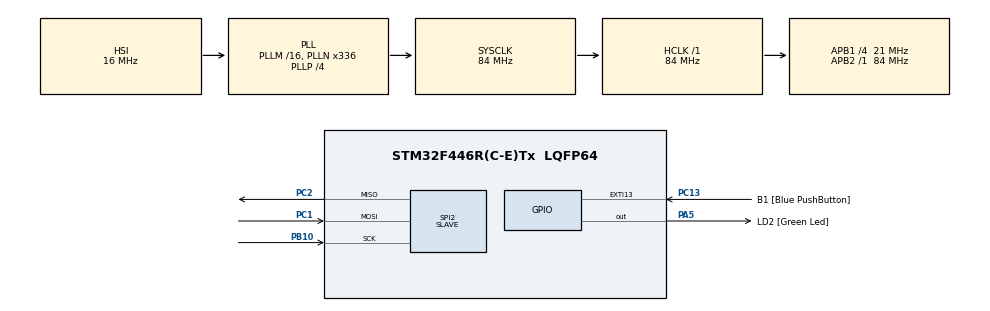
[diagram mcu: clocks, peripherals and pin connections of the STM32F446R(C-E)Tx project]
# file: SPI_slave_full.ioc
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Mcu.Family=STM32F4
Mcu.Name=STM32F446R(C-E)Tx
Mcu.Package=LQFP64
NVIC.PriorityGroup=NVIC_PRIORITYGROUP_0
NVIC.SPI2_IRQn=true\:0\:0\:false\:false\:true\:true\:true\:true
PA13.GPIO_Label=TMS
PA13.Signal=SYS_JTMS-SWDIO
PA14.GPIO_Label=TCK
PA14.Signal=SYS_JTCK-SWCLK
PA2.GPIO_Label=USART_TX
PA2.Signal=USART2_TX
PA3.GPIO_Label=USART_RX
PA3.Signal=USART2_RX
PA5.GPIO_Label=LD2 [Green Led]
PA5.Signal=GPIO_Output
PB10.Mode=Full_Duplex_Slave
PB10.Signal=SPI2_SCK
PB3.GPIO_Label=SWO
PB3.Signal=SYS_JTDO-SWO
PC1.Mode=Full_Duplex_Slave
PC1.Signal=SPI2_MOSI
PC13.GPIO_Label=B1 [Blue PushButton]
PC13.GPIO_ModeDefaultEXTI=GPIO_MODE_IT_FALLING
PC13.Signal=GPXTI13
PC14-OSC32_IN.Signal=RCC_OSC32_IN
PC15-OSC32_OUT.Signal=RCC_OSC32_OUT
PC2.Mode=Full_Duplex_Slave
PC2.Signal=SPI2_MISO
PH0-OSC_IN.Signal=RCC_OSC_IN
PH1-OSC_OUT.Signal=RCC_OSC_OUT
ProjectManager.HeapSize=0x200
ProjectManager.StackSize=0x400
ProjectManager.TargetToolchain=STM32CubeIDE
RCC.AHBFreq_Value=84000000
RCC.APB1CLKDivider=RCC_HCLK_DIV4
RCC.APB1Freq_Value=21000000
RCC.APB1TimFreq_Value=42000000
RCC.APB2Freq_Value=84000000
RCC.APB2TimFreq_Value=84000000
RCC.CortexFreq_Value=84000000
RCC.FLatency-AdvancedSettings=FLASH_LATENCY_2
RCC.HCLKFreq_Value=84000000
RCC.HSE_VALUE=8000000
RCC.HSI_VALUE=16000000
RCC.LSE_VALUE=32768
RCC.PLLN=336
RCC.PLLP=RCC_PLLP_DIV4
RCC.SYSCLKFreq_VALUE=84000000
RCC.SYSCLKSource=RCC_SYSCLKSOURCE_PLLCLK
RCC.USBFreq_Value=168000000
RCC.VCOOutputFreq_Value=336000000
SPI2.Direction=SPI_DIRECTION_2LINES
SPI2.Mode=SPI_MODE_SLAVE
SPI2.VirtualType=VM_SLAVE
board=NUCLEO-F446RE

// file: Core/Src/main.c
/* USER CODE BEGIN Header */
/**
 ******************************************************************************
 * @file           : main.c
 * @brief          : Main program body
 ******************************************************************************
 * @attention
 *
 * Copyright (c) 2024 STMicroelectronics.
 * All rights reserved.
 *
 * This software is licensed under terms that can be found in the LICENSE file
 * in the root directory of this software component.
 * If no LICENSE file comes with this software, it is provided AS-IS.
 *
 ******************************************************************************
 */
/* USER CODE END Header */
#include "main.h"

SPI_HandleTypeDef hspi2;

/* USER CODE BEGIN PV */
uint8_t cmd[4];
uint8_t new_cmd_in = 0;

uint8_t data[] = { 'O', 'K' };
uint16_t data_size_bytes = 2;
uint8_t send_data = 0;

/* USER CODE END PV */

void SystemClock_Config(void);
static void MX_GPIO_Init(void);
static void MX_SPI2_Init(void);

int main(void) {

	/* MCU Configuration--------------------------------------------------------*/

	/* Reset of all peripherals, Initializes the Flash interface and the Systick. */
	HAL_Init();

	/* Configure the system clock */
	SystemClock_Config();

	/* Initialize all configured peripherals */
	MX_GPIO_Init();
	MX_SPI2_Init();

	/* Infinite loop */
	/* USER CODE BEGIN WHILE */
	HAL_SPI_Receive_IT(&hspi2, cmd, 2);
	while (1) {
		/* USER CODE END WHILE */

		/* USER CODE BEGIN 3 */
		// 1. Receive command.
		if (new_cmd_in == 1) {
			new_cmd_in = 0;

			HAL_GPIO_WritePin(LD2_GPIO_Port, LD2_Pin, GPIO_PIN_SET);
			HAL_Delay(100);
			HAL_GPIO_WritePin(LD2_GPIO_Port, LD2_Pin, GPIO_PIN_RESET);
			HAL_Delay(100);

			// 2. Repeat receive cmd.
			// Master want to sync.
			HAL_SPI_Receive_IT(&hspi2, (uint8_t*) cmd, 2);

		}

	}
	/* USER CODE END 3 */
}

void SystemClock_Config(void) {
	RCC_OscInitTypeDef RCC_OscInitStruct = { 0 };
	RCC_ClkInitTypeDef RCC_ClkInitStruct = { 0 };

	/** Configure the main internal regulator output voltage
	 */
	__HAL_RCC_PWR_CLK_ENABLE();
	__HAL_PWR_VOLTAGESCALING_CONFIG(PWR_REGULATOR_VOLTAGE_SCALE3);

	/** Initializes the RCC Oscillators according to the specified parameters
	 * in the RCC_OscInitTypeDef structure.
	 */
	RCC_OscInitStruct.OscillatorType = RCC_OSCILLATORTYPE_HSI;
	RCC_OscInitStruct.HSIState = RCC_HSI_ON;
	RCC_OscInitStruct.HSICalibrationValue = RCC_HSICALIBRATION_DEFAULT;
	RCC_OscInitStruct.PLL.PLLState = RCC_PLL_ON;
	RCC_OscInitStruct.PLL.PLLSource = RCC_PLLSOURCE_HSI;
	RCC_OscInitStruct.PLL.PLLM = 16;
	RCC_OscInitStruct.PLL.PLLN = 336;
	RCC_OscInitStruct.PLL.PLLP = RCC_PLLP_DIV4;
	RCC_OscInitStruct.PLL.PLLQ = 2;
	RCC_OscInitStruct.PLL.PLLR = 2;
	if (HAL_RCC_OscConfig(&RCC_OscInitStruct) != HAL_OK) {
		Error_Handler();
	}

	/** Initializes the CPU, AHB and APB buses clocks
	 */
	RCC_ClkInitStruct.ClockType = RCC_CLOCKTYPE_HCLK | RCC_CLOCKTYPE_SYSCLK
			| RCC_CLOCKTYPE_PCLK1 | RCC_CLOCKTYPE_PCLK2;
	RCC_ClkInitStruct.SYSCLKSource = RCC_SYSCLKSOURCE_PLLCLK;
	RCC_ClkInitStruct.AHBCLKDivider = RCC_SYSCLK_DIV1;
	RCC_ClkInitStruct.APB1CLKDivider = RCC_HCLK_DIV4;
	RCC_ClkInitStruct.APB2CLKDivider = RCC_HCLK_DIV1;

	if (HAL_RCC_ClockConfig(&RCC_ClkInitStruct, FLASH_LATENCY_2) != HAL_OK) {
		Error_Handler();
	}
}

static void MX_SPI2_Init(void) {

	/* SPI2 parameter configuration*/
	hspi2.Instance = SPI2;
	hspi2.Init.Mode = SPI_MODE_SLAVE;
	hspi2.Init.Direction = SPI_DIRECTION_2LINES;
	hspi2.Init.DataSize = SPI_DATASIZE_8BIT;
	hspi2.Init.CLKPolarity = SPI_POLARITY_LOW;
	hspi2.Init.CLKPhase = SPI_PHASE_1EDGE;
	hspi2.Init.NSS = SPI_NSS_SOFT;
	hspi2.Init.FirstBit = SPI_FIRSTBIT_MSB;
	hspi2.Init.TIMode = SPI_TIMODE_DISABLE;
	hspi2.Init.CRCCalculation = SPI_CRCCALCULATION_DISABLE;
	hspi2.Init.CRCPolynomial = 10;
	if (HAL_SPI_Init(&hspi2) != HAL_OK) {
		Error_Handler();
	}

}

static void MX_GPIO_Init(void) {
	GPIO_InitTypeDef GPIO_InitStruct = { 0 };

	/* GPIO Ports Clock Enable */
	__HAL_RCC_GPIOC_CLK_ENABLE();
	__HAL_RCC_GPIOH_CLK_ENABLE();
	__HAL_RCC_GPIOA_CLK_ENABLE();
	__HAL_RCC_GPIOB_CLK_ENABLE();

	/*Configure GPIO pin Output Level */
	HAL_GPIO_WritePin(LD2_GPIO_Port, LD2_Pin, GPIO_PIN_RESET);

	/*Configure GPIO pin : B1_Pin */
	GPIO_InitStruct.Pin = B1_Pin;
	GPIO_InitStruct.Mode = GPIO_MODE_IT_FALLING;
	GPIO_InitStruct.Pull = GPIO_NOPULL;
	HAL_GPIO_Init(B1_GPIO_Port, &GPIO_InitStruct);

	/*Configure GPIO pins : USART_TX_Pin USART_RX_Pin */
	GPIO_InitStruct.Pin = USART_TX_Pin | USART_RX_Pin;
	GPIO_InitStruct.Mode = GPIO_MODE_AF_PP;
	GPIO_InitStruct.Pull = GPIO_NOPULL;
	GPIO_InitStruct.Speed = GPIO_SPEED_FREQ_VERY_HIGH;
	GPIO_InitStruct.Alternate = GPIO_AF7_USART2;
	HAL_GPIO_Init(GPIOA, &GPIO_InitStruct);

	/*Configure GPIO pin : LD2_Pin */
	GPIO_InitStruct.Pin = LD2_Pin;
	GPIO_InitStruct.Mode = GPIO_MODE_OUTPUT_PP;
	GPIO_InitStruct.Pull = GPIO_NOPULL;
	GPIO_InitStruct.Speed = GPIO_SPEED_FREQ_LOW;
	HAL_GPIO_Init(LD2_GPIO_Port, &GPIO_InitStruct);

}

/* USER CODE BEGIN 4 */
void HAL_SPI_RxCpltCallback(SPI_HandleTypeDef *hspi) {

	new_cmd_in = 1;

	// Send data on receive command.
	HAL_SPI_Transmit_IT(&hspi2, (uint8_t*) data, data_size_bytes);

}
/* USER CODE END 4 */

void Error_Handler(void) {
	__disable_irq();
	while (1) {
	}
}
